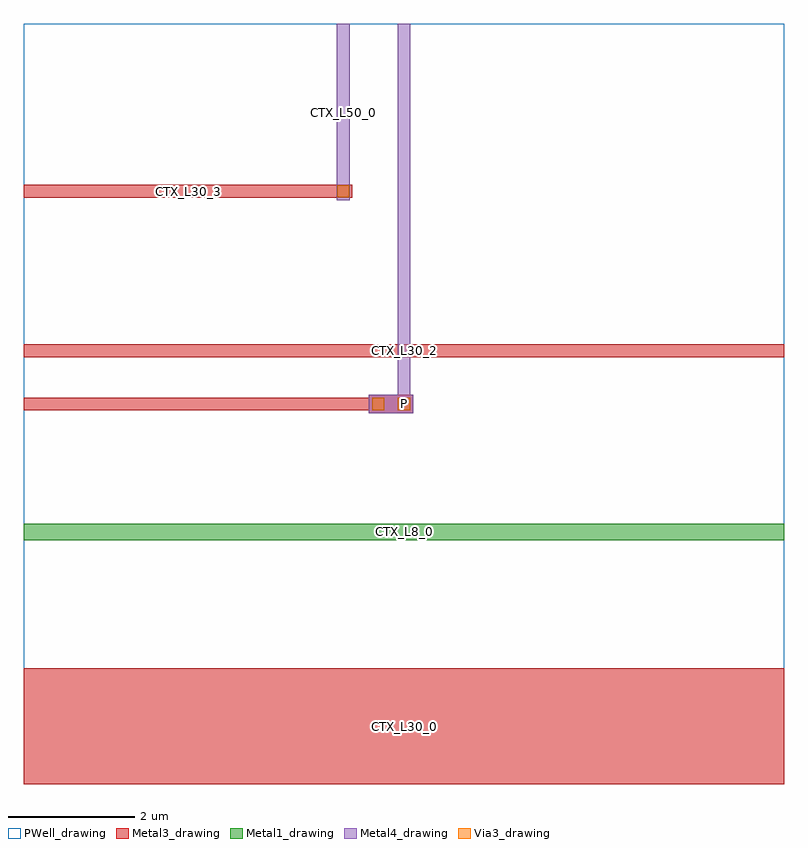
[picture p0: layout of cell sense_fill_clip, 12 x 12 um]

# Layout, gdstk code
import gdstk
lib = gdstk.Library(unit=1e-6, precision=1e-09)
def R(c, l, rs):  # rectangles x0, y0, x1, y1
    for r in rs: c.add(gdstk.rectangle(r[:2], r[2:], *l))
def P(c, l, *ps):  # polygons
    for p in ps: c.add(gdstk.Polygon(p, *l))
Metal1_drawing = (8, 0)
Metal3_drawing = (30, 0)
PWell_drawing = (46, 0)
Via3_drawing = (49, 0)
Metal4_drawing = (50, 0)

sense_fill_clip = lib.new_cell('sense_fill_clip')
R(sense_fill_clip, Metal1_drawing, [(959.76,628.27,971.76,628.53)])
R(sense_fill_clip, Metal3_drawing, [(959.76,624.42,971.76,626.25), (959.76,631.16,971.76,631.36)])
P(sense_fill_clip, Metal3_drawing, [(964.655,633.675),(964.655,633.68),(959.76,633.68),(959.76,633.88),(964.655,633.88),(964.655,633.885),(964.945,633.885),(964.945,633.675)],
  [(965.205,630.275),(965.205,630.32),(959.76,630.32),(959.76,630.52),(965.205,630.52),(965.205,630.565),(965.905,630.565),(965.905,630.275)])
R(sense_fill_clip, PWell_drawing, [(959.76,624.42,971.76,636.42), (959.76,624.42,971.76,636.42)])
R(sense_fill_clip, Via3_drawing, [(965.255,630.325,965.445,630.515), (965.665,630.325,965.855,630.515), (964.705,633.685,964.895,633.875)])
R(sense_fill_clip, Metal4_drawing, [(965.205,630.275,965.905,630.565), (965.66,630.565,965.86,636.42), (964.7,633.635,964.9,636.42)])
sense_fill_clip.add(gdstk.Label('CTX_L8_0', (965.76,628.4), layer=8, texttype=25))
sense_fill_clip.add(gdstk.Label('CTX_L30_3', (962.352,633.78), layer=30, texttype=25))
sense_fill_clip.add(gdstk.Label('CTX_L30_2', (965.76,631.26), layer=30, texttype=25))
sense_fill_clip.add(gdstk.Label('P', (965.76,630.42), layer=30, texttype=25))
sense_fill_clip.add(gdstk.Label('CTX_L30_0', (965.76,625.335), layer=30, texttype=25))
sense_fill_clip.add(gdstk.Label('CTX_L50_0', (964.8,635.027), layer=50, texttype=25))
sense_fill_clip.add(gdstk.Label('PSEG_L50_1', (965.555,630.42), layer=50, texttype=25))

lib.write_gds('sense_fill_clip.gds')
